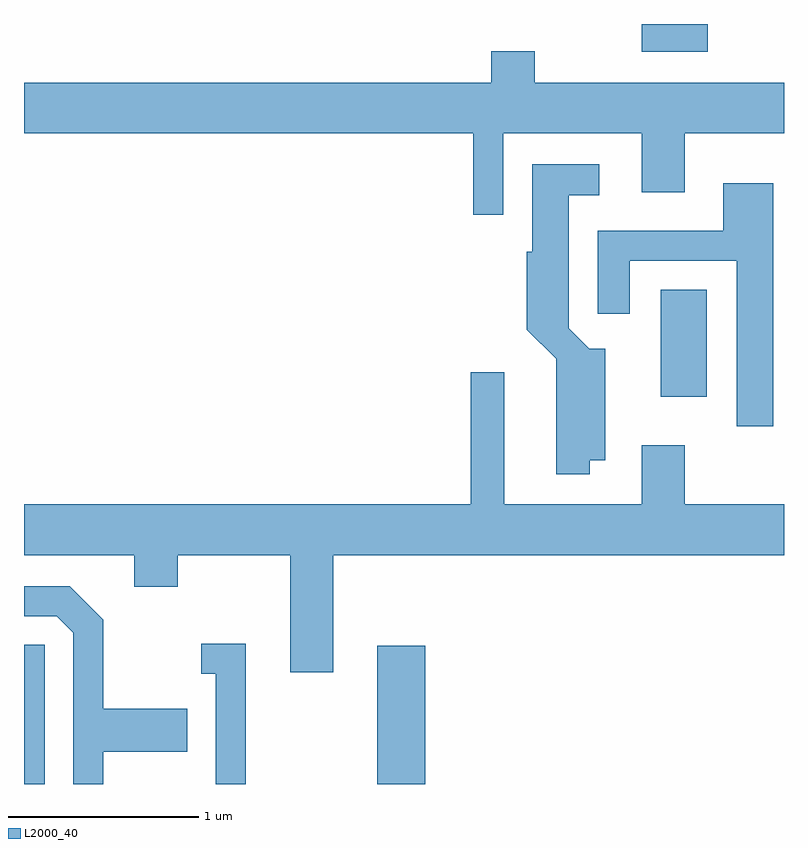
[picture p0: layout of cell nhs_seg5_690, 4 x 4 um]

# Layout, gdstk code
import gdstk
lib = gdstk.Library(unit=1e-6, precision=1e-09)
def R(c, l, rs):  # rectangles x0, y0, x1, y1
    for r in rs: c.add(gdstk.rectangle(r[:2], r[2:], *l))
def P(c, l, *ps):  # polygons
    for p in ps: c.add(gdstk.Polygon(p, *l))
L2000_40 = (2000, 40)

nhs_seg5_690 = lib.new_cell('nhs_seg5_690')
R(nhs_seg5_690, L2000_40, [(205.611,1420.072,205.719,1420.804), (207.471,1420.072,207.724,1420.799), (208.961,1422.111,209.204,1422.674), (208.863,1423.926,209.209,1424.072)])
P(nhs_seg5_690, L2000_40, [(208.134,1423.496),(208.861,1423.496),(208.861,1423.186),(209.089,1423.186),(209.089,1423.496),(209.611,1423.496),(209.611,1423.764),(208.299,1423.764),(208.299,1423.929),(208.071,1423.929),(208.071,1423.764),(205.611,1423.764),(205.611,1423.496),(207.976,1423.496),(207.976,1423.068),(208.134,1423.068)],
  [(208.589,1421.776),(208.669,1421.776),(208.669,1422.364),(208.587,1422.364),(208.479,1422.472),(208.479,1423.171),(208.638,1423.171),(208.638,1423.334),(208.286,1423.334),(208.286,1422.874),(208.256,1422.874),(208.256,1422.464),(208.411,1422.309),(208.411,1421.701),(208.589,1421.701)],
  [(209.554,1423.234),(209.291,1423.234),(209.291,1422.984),(208.631,1422.984),(208.631,1422.548),(208.799,1422.548),(208.799,1422.826),(209.361,1422.826),(209.361,1421.956),(209.554,1421.956)],
  [(207.239,1421.276),(209.611,1421.276),(209.611,1421.544),(209.089,1421.544),(209.089,1421.854),(208.861,1421.854),(208.861,1421.544),(208.139,1421.544),(208.139,1422.239),(207.961,1422.239),(207.961,1421.544),(205.611,1421.544),(205.611,1421.276),(206.191,1421.276),(206.191,1421.111),(206.419,1421.111),(206.419,1421.276),(207.011,1421.276),(207.011,1420.661),(207.239,1420.661)],
  [(206.029,1420.241),(206.469,1420.241),(206.469,1420.469),(206.029,1420.469),(206.029,1420.937),(205.852,1421.114),(205.611,1421.114),(205.611,1420.956),(205.784,1420.956),(205.871,1420.869),(205.871,1420.072),(206.029,1420.072)],
  [(206.779,1420.809),(206.543,1420.809),(206.543,1420.651),(206.621,1420.651),(206.621,1420.072),(206.779,1420.072)])

lib.write_gds('nhs_seg5_690.gds')
